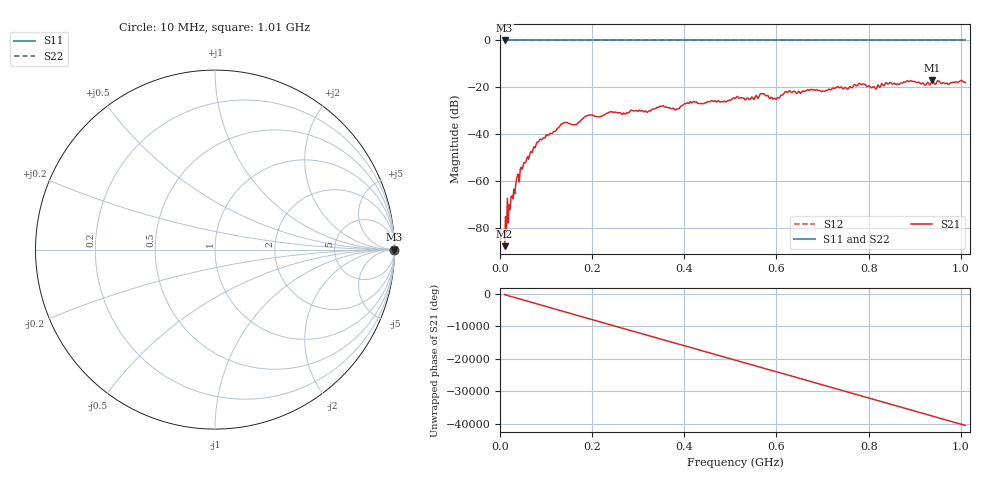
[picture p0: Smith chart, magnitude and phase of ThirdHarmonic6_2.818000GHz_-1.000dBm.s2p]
! 8/17/2025 7:26:36 AM
! C:\ANRITSUVNA\TEMP\TEMP.S2P
! CHANNEL.1
! TR.MEASUREMENT
! RAW.DATA
! RF.CORRECTION.OFF
! AVERAGING.OFF
! IF.BANDWIDTH: 5KHZ
! SWEEPTYPE:  FREQ.SWEEP(Linear)
! Reference Plane Port Info
! PORT:  PORT1  PORT2
! DISTANCE:  0  m  0  m
! TIME:  0  s  0  s
! PHASE.OFFSET:  0  deg.  0  deg.
! LOSS:  0  dB  0  dB
! REF.LOSS:  0  dB  0  dB
! REF.FREQ:  0  Hz  0  Hz
! Power Info
! POWER:  -20  dBm  -20  dBm
! EFF.POWER:  -20  dBm  -20  dBm
! SOURCE.ATTEN:  0  dB  0  dB
! TEST.ATTEN:  0  dB  0  dB
# GHZ S RI R 50.0
! FREQ.GHZ  S11RE  S11IM  S21RE  S21IM  S12RE  S12IM  S22RE  S22IM
!; PortSelection: Port_12
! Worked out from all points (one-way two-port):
!   501 points, 10 MHz to 1.01 GHz, reference 50 ohm
!   highest |S21| = -16.95 dB at 938 MHz (marker M1); lowest = -87.6 dB at 10 MHz (marker M2)
!   lowest |S11| = 0.0 dB at 10 MHz (marker M3)
!   |S11| at or under -10 dB: nowhere
!   |S22| runs from 0.0 to 0.0 dB; largest |S21 - S12| = 1.1
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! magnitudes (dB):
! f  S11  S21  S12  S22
! 10 MHz  0.0  -87.6  0.0  0.0
! 20 MHz  0.0  -70.0  0.0  0.0
! 42 MHz  0.0  -60.3  0.0  0.0
! 82 MHz  0.0  -43.2  0.0  0.0
! 136 MHz  0.0  -35.5  0.0  0.0
! 162 MHz  0.0  -35.7  0.0  0.0
! 178 MHz  0.0  -33.5  0.0  0.0
! 192 MHz  0.0  -31.8  0.0  0.0
! 344 MHz  0.0  -28.6  0.0  0.0
! 382 MHz  0.0  -29.4  0.0  0.0
! 416 MHz  0.0  -26.6  0.0  0.0
! 510 MHz  0.0  -24.7  0.0  0.0
! 548 MHz  0.0  -24.2  0.0  0.0
! 570 MHz  0.0  -22.7  0.0  0.0
! 596 MHz  0.0  -24.6  0.0  0.0
! 624 MHz  0.0  -22.1  0.0  0.0
! 678 MHz  0.0  -21.0  0.0  0.0
! 782 MHz  0.0  -18.6  0.0  0.0
! 814 MHz  0.0  -20.3  0.0  0.0
! 844 MHz  0.0  -18.4  0.0  0.0
! 938 MHz  0.0  -16.9  0.0  0.0
! 1.01 GHz  0.0  -17.9  0.0  0.0
